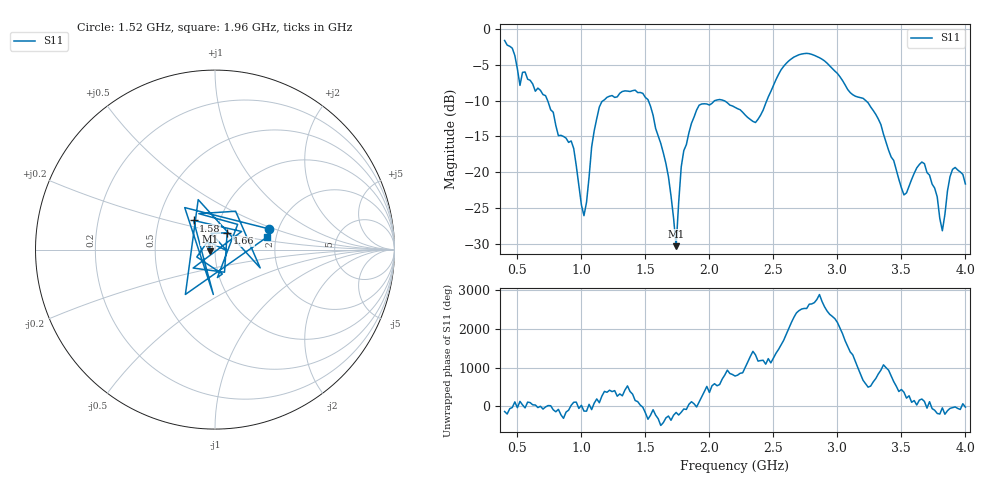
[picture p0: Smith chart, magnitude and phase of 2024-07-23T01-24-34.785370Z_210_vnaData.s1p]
!Created with skrf (http://scikit-rf.org).
# Hz S RI R 50.0
!freq ReS11 ImS11
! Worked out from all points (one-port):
!   181 points, 400 MHz to 4 GHz, reference 50 ohm
!   lowest |S11| = -30.3 dB at 1.74 GHz (marker M1), VSWR 1.06, Z = 47.1 - j0.822 ohm
!   |S11| at or under -10 dB: 735.7 MHz to 1.172 GHz (436 MHz wide, 45.7 % of centre); 1.523 GHz to 2.044 GHz (521.2 MHz wide, 29.2 % of centre); 3.221 GHz to end of sweep (the widest 3 of 4)
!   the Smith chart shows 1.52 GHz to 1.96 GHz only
!   S11 on the Smith chart (normalised r, x): 1.52 GHz: 1.78, +0.46; 1.58 GHz: 0.75, +0.25; 1.66 GHz: 1.12, +0.21; 1.96 GHz: 1.80, +0.28
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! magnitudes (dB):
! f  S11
! 400 MHz  -1.6
! 520 MHz  -7.9
! 560 MHz  -6.0
! 720 MHz  -9.3
! 860 MHz  -15.0
! 940 MHz  -16.7
! 1.02 GHz  -26.0
! 1.14 GHz  -10.9
! 1.3 GHz  -9.0
! 1.52 GHz  -9.9
! 1.58 GHz  -13.9
! 1.66 GHz  -18.7
! 1.74 GHz  -30.3
! 1.76 GHz  -24.2
! 1.8 GHz  -17.0
! 1.96 GHz  -10.5
! 2.2 GHz  -10.9
! 2.36 GHz  -13.1
! 2.66 GHz  -4.0
! 2.88 GHz  -4.2
! 3.1 GHz  -8.9
! 3.3 GHz  -11.9
! 3.52 GHz  -23.1
! 3.56 GHz  -21.9
! 3.68 GHz  -18.8
! 3.82 GHz  -28.1
! 3.9 GHz  -19.6
! 4 GHz  -21.6
